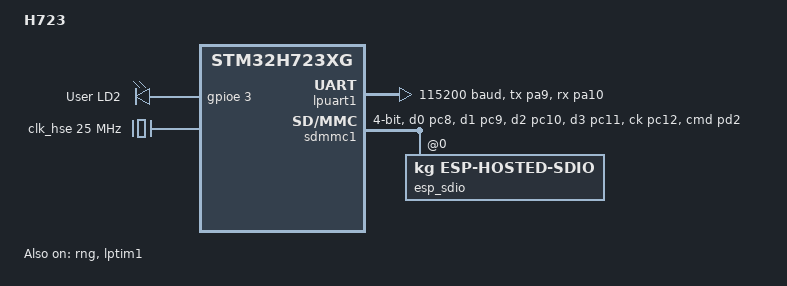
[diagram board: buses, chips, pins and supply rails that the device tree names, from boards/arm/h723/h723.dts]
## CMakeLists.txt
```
# SPDX-License-Identifier: Apache-2.0

cmake_minimum_required(VERSION 3.20.0)

set(NO_BUILD_TYPE_WARNING true)
set(CMAKE_BUILD_TYPE Debug)
set(BOARD_ROOT ${CMAKE_CURRENT_SOURCE_DIR})
set(BOARD h723)

find_package(Zephyr REQUIRED HINTS $ENV{ZEPHYR_BASE})

set(NANOPB_DIR ${ZEPHYR_BASE}/../modules/lib/nanopb)
set(NANOPB_GENERATOR ${NANOPB_DIR}/generator/nanopb_generator.py)

# 2. Zdefiniuj pliki
set(PROTO_FILE ${CMAKE_CURRENT_SOURCE_DIR}/proto/esp_hosted_rpc.proto)
set(GEN_C_FILE ${CMAKE_CURRENT_SOURCE_DIR}/proto/esp_hosted_rpc.pb.c)
set(GEN_H_FILE ${CMAKE_CURRENT_SOURCE_DIR}/proto/esp_hosted_rpc.pb.h)

# 3. Ręczne polecenie generowania (Custom Command)
# To sprawi, że pliki powstaną przed kompilacją, ale będą zwykłymi plikami C
add_custom_command(
    OUTPUT ${GEN_C_FILE} ${GEN_H_FILE}
    COMMAND ${PYTHON_EXECUTABLE} ${NANOPB_GENERATOR}
            -I${CMAKE_CURRENT_SOURCE_DIR}/proto
            --output-dir=${CMAKE_CURRENT_SOURCE_DIR}/proto
            ${PROTO_FILE}
    DEPENDS ${PROTO_FILE}
    COMMENT "Generowanie plików Nanopb dla ${PROTO_FILE}"
)

project(cellular_modem)

target_sources(app PRIVATE
    src/main.c
    src/shell.c
    src/esp_hosted.c
    src/sdio_io.c
    ${GEN_C_FILE}
 )
 
target_include_directories(app PRIVATE ${CMAKE_CURRENT_BINARY_DIR} ${CMAKE_CURRENT_SOURCE_DIR}/proto)

set(gen_dir ${ZEPHYR_BINARY_DIR}/include/generated/)
```

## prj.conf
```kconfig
CONFIG_DEBUG=y

CONFIG_PRINTK=y
CONFIG_SHELL=y
CONFIG_LOG=y
CONFIG_LOG_CMDS=y
# CONFIG_INIT_STACKS=y
# CONFIG_THREAD_STACK_INFO=y
CONFIG_KERNEL_SHELL=y
# CONFIG_THREAD_MONITOR=y
CONFIG_BOOT_BANNER=y
# CONFIG_THREAD_NAME=y
# CONFIG_DEVICE_SHELL=y
# CONFIG_DATE_SHELL=y
# CONFIG_THREAD_RUNTIME_STATS=y
# CONFIG_THREAD_RUNTIME_STATS_USE_TIMING_FUNCTIONS=y
# CONFIG_STATS=y
# CONFIG_STATS_SHELL=y

# CONFIG_SHELL_BACKEND_SERIAL=y

# CONFIG_USB_DEVICE_STACK_NEXT=y
# CONFIG_CDC_ACM_SERIAL_INITIALIZE_AT_BOOT=y
# # CONFIG_CDC_ACM_SERIAL_PRODUCT_STRING="Zephyr USB shell sample"
CONFIG_SHELL_BACKEND_SERIAL_CHECK_DTR=y
# CONFIG_USBD_CDC_ACM_LOG_LEVEL_OFF=y
CONFIG_UART_LINE_CTRL=y
# CONFIG_LOG_DEFAULT_LEVEL=1
# # CONFIG_USBD_CDC_ACM_CLASS=y

CONFIG_SERIAL=y
CONFIG_CONSOLE=y
CONFIG_UART_CONSOLE=y
CONFIG_STDOUT_CONSOLE=y
CONFIG_UART_LINE_CTRL=y
CONFIG_EARLY_CONSOLE=y

CONFIG_SHELL=y

# CONFIG_NET_SHELL=y

# CONFIG_WIFI=y
# CONFIG_NET_L2_WIFI_SHELL=y

# CONFIG_NET_PKT_RX_COUNT=16
# CONFIG_NET_PKT_TX_COUNT=16
# CONFIG_NET_BUF_RX_COUNT=64
# CONFIG_NET_BUF_TX_COUNT=64
# CONFIG_NET_TX_STACK_SIZE=16384
# CONFIG_NET_RX_STACK_SIZE=16384

# CONFIG_NETWORKING=y
# # CONFIG_TEST_RANDOM_GENERATOR=y

CONFIG_MAIN_STACK_SIZE=16384
CONFIG_SHELL_STACK_SIZE=16384
CONFIG_ISR_STACK_SIZE=16384
# CONFIG_NET_TX_STACK_SIZE=16384
# CONFIG_NET_RX_STACK_SIZE=16384

# CONFIG_NET_PKT_RX_COUNT=10
# CONFIG_NET_PKT_TX_COUNT=10
# CONFIG_NET_BUF_RX_COUNT=20
# CONFIG_NET_BUF_TX_COUNT=20
# CONFIG_NET_MAX_CONTEXTS=10
# CONFIG_NET_DHCPV4=n
# CONFIG_NET_DHCPV6=n

# CONFIG_NET_IPV4=y
# CONFIG_NET_IPV6=n

# CONFIG_NET_TCP=y

# # CONFIG_NET_LOG=y
# CONFIG_INIT_STACKS=y

# CONFIG_NET_SHELL=y

# # CONFIG_NET_STATISTICS=y
# # CONFIG_NET_STATISTICS_PERIODIC_OUTPUT=n

# CONFIG_WIFI=y
# # CONFIG_WIFI_LOG_LEVEL_INF=y
# CONFIG_NET_L2_WIFI_SHELL=y

# CONFIG_NET_MGMT_EVENT_STACK_SIZE=16384

# CONFIG_NET_IPV4_FRAGMENT=y
# CONFIG_NET_IPV4_FRAGMENT_MAX_COUNT=5
# CONFIG_NET_IPV4_FRAGMENT_TIMEOUT=5

# CONFIG_NET_CONFIG_SETTINGS=y

# CONFIG_NET_IPV4_PMTU=y

# # CONFIG_NET_DHCPV4_LOG_LEVEL_DBG=y
# CONFIG_NET_MGMT=y
# CONFIG_NET_MGMT_EVENT=y


# CONFIG_NET_RX_STACK_SIZE=16384
# CONFIG_NET_TX_STACK_SIZE=16384
# CONFIG_SHELL_STACK_SIZE=16384


# # DNS
# CONFIG_DNS_RESOLVER=y
# CONFIG_DNS_RESOLVER_ADDITIONAL_BUF_CTR=2
# CONFIG_DNS_RESOLVER_MAX_SERVERS=2
# CONFIG_DNS_SERVER_IP_ADDRESSES=y
# CONFIG_DNS_SERVER1="8.8.8.8"
# CONFIG_NET_SOCKETS_DNS_TIMEOUT=5000
# # CONFIG_DNS_RESOLVER_LOG_LEVEL_INF=y

CONFIG_REBOOT=y
# CONFIG_WIFI_SHELL_MAX_AP_STA=1
# CONFIG_NET_IF_MAX_IPV4_COUNT=2

CONFIG_WIFI=y
CONFIG_WIFI_LOG_LEVEL_DBG=y

CONFIG_LOG_MODE_IMMEDIATE=y
# CONFIG_LOG_DEFAULT_LEVEL=1
# CONFIG_LOG_MODE_DEFERRED=y
# CONFIG_LOG_BUFFER_SIZE=32768

CONFIG_SYSTEM_WORKQUEUE_STACK_SIZE=16384
CONFIG_UART_INTERRUPT_DRIVEN=y

# CONFIG_NET_SOCKETS_PACKET=y

CONFIG_WIFI_ESP_HOSTED_SDIO=y

CONFIG_NANOPB=y

CONFIG_DMA=n
CONFIG_SDHC=y
CONFIG_SDHC_STM32_SDIO=y
CONFIG_DCACHE=y
CONFIG_NOCACHE_MEMORY=y
CONFIG_HEAP_MEM_POOL_SIZE=16384
# CONFIG_SDHC_STM32_POLLING_SUPPORT=y
```

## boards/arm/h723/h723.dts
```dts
/*
 * Copyright (c) 2023 STMicroelectronics
 *
 * SPDX-License-Identifier: Apache-2.0
 */
/dts-v1/;

#include <st/h7/stm32h723Xg.dtsi>
#include <st/h7/stm32h723vgtx-pinctrl.dtsi>
#include <mem.h>

/ {
	model = "H723";
	compatible = "st,h723";

	chosen {
		zephyr,flash = &flash0;
		zephyr,sram = &sram0;
		zephyr,console = &lpuart1;
		zephyr,shell-uart = &lpuart1;
        zephyr,cortex-m-idle-timer = &lptim1;
	};

	leds {
		compatible = "gpio-leds";
		led: led {
			gpios = <&gpioe 3 GPIO_ACTIVE_HIGH>;
			label = "User LD2";
		};
	};

	aliases {
		led = &led;
	};
};

&rng {
	status = "okay";
};

&clk_lsi {
	status = "okay";
};

&clk_hse {
	clock-frequency = <DT_FREQ_M(25)>;
	status = "okay";
};

&pll {
	div-m = <2>;
	mul-n = <44>;
	div-p = <1>;
	div-q = <2>;
	div-r = <2>;
	clocks = <&clk_hse>;
	status = "okay";
};

&rcc {
	clocks = <&pll>;
	clock-frequency = <550000000>;
	d1cpre = <1>;
	hpre = <2>;    /* HCLK: 275   MHz */
	d1ppre = <2>;  /* APB1: 137.5 MHz */
	d2ppre1 = <2>; /* APB2: 137.5 MHz */
	d2ppre2 = <2>; /* APB3: 137.5 MHz */
	d3ppre = <2>;  /* APB4: 137.5 MHz */
};

// zephyr_udc0: &usbotg_hs {
//         pinctrl-0 = <&usb_otg_hs_dm_pa11 &usb_otg_hs_dp_pa12>;
//         pinctrl-names = "default";
//         status = "okay";

//         cdc_acm_uart0: cdc_acm_uart0 {
//             compatible = "zephyr,cdc-acm-uart";
// 	        status = "okay";
//         };
// };

// &otghs_fs_phy {
// 	status = "okay";
// };


&lpuart1 {
    pinctrl-0 = <&lpuart1_tx_pa9 &lpuart1_rx_pa10>;
    pinctrl-names = "default";
    current-speed = <115200>;
    status = "okay";
};

// &dma2 {
//     status = "okay";
// };

&pinctrl {
    sdmmc1_d0_pc8: sdmmc1_d0_pc8 {
        pinmux = <STM32_PINMUX('C', 8, AF12)>;
        bias-pull-up;
        drive-push-pull;
		slew-rate = "very-high-speed";
    };
    sdmmc1_d1_pc9: sdmmc1_d1_pc9 {
        pinmux = <STM32_PINMUX('C', 9, AF12)>;
        bias-pull-up;
        drive-push-pull;
		slew-rate = "very-high-speed";
    };
    sdmmc1_d2_pc10: sdmmc1_d2_pc10 {
        pinmux = <STM32_PINMUX('C', 10, AF12)>;
        bias-pull-up;
        drive-push-pull;
		slew-rate = "very-high-speed";
    };
    sdmmc1_d3_pc11: sdmmc1_d3_pc11 {
        pinmux = <STM32_PINMUX('C', 11, AF12)>;
        bias-pull-up;
        drive-push-pull;
		slew-rate = "very-high-speed";
    };
    sdmmc1_cmd_pd2: sdmmc1_cmd_pd2 {
        pinmux = <STM32_PINMUX('D', 2, AF12)>;
        bias-pull-up;
        drive-push-pull;
		slew-rate = "very-high-speed";
    };
    sdmmc1_ck_pc12: sdmmc1_ck_pc12 {
        pinmux = <STM32_PINMUX('C', 12, AF12)>;
        drive-push-pull;
		slew-rate = "very-high-speed";
    };
};

&sdmmc1 {
    status = "okay";
    compatible = "st,stm32-sdio";
    pinctrl-0 = <&sdmmc1_d0_pc8 &sdmmc1_d1_pc9 &sdmmc1_d2_pc10 &sdmmc1_d3_pc11 &sdmmc1_ck_pc12 &sdmmc1_cmd_pd2>;
    pinctrl-names = "default";
    bus-width = <4>;
    interrupt-names = "event";
	hw-flow-control;

	max-bus-freq = <20000000>;
    min-bus-freq = <400000>;

	#address-cells = <1>;
    #size-cells = <0>;

	// dma-names = "rx", "tx";
	// dmas = <&dma2 4 4 0x20400 0x0>, /* Parametry: phandle, channel, slot, config, features */
    //        <&dma2 4 5 0x20400 0x0>;

    esp_sdio: esp_sdio@0 {
        compatible = "kg,esp-hosted-sdio";
        reg = <0>;
        status = "okay";
    };
};


stm32_lp_tick_source: &lptim1 {
        status = "okay";
};
```

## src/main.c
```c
/*
 * Copyright (c) 2023, Bjarki Arge Andreasen
 *
 * SPDX-License-Identifier: Apache-2.0
 */

#include <zephyr/device.h>
#include <zephyr/kernel.h>
#include <zephyr/drivers/gpio.h>
#include <zephyr/logging/log.h>

LOG_MODULE_REGISTER(main, LOG_LEVEL_DBG);

static const struct gpio_dt_spec led = GPIO_DT_SPEC_GET(DT_ALIAS(led), gpios);

int main(void)
{
	gpio_pin_configure_dt(&led, GPIO_OUTPUT_ACTIVE);

	while (true) {
		gpio_pin_set(led.port, led.pin, true);
		k_msleep(100);
		gpio_pin_set(led.port, led.pin, false);
		k_msleep(100);
	}

	return 0;
}
```

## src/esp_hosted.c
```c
#include <stdbool.h>
#include <stdio.h>
#include <stdlib.h>
#include <zephyr/drivers/sdhc.h>
#include <zephyr/logging/log.h>
#include <stm32_ll_bus.h>
#include <zephyr/cache.h>
#include <stm32_ll_gpio.h>
#include <inttypes.h>
#include <strings.h>
#include <errno.h>
#include <endian.h>
#include "sdio_io.h"

LOG_MODULE_REGISTER(esp_hosted, CONFIG_SDHC_LOG_LEVEL);

int hosted_sdio_set_blocksize(const struct device *card, uint8_t fn, uint16_t value)
{
	size_t offset = SD_IO_FBR_START * fn;
	const uint8_t *bs_u8 = (const uint8_t *)&value;
	uint16_t bs_read = 0;
	uint8_t *bs_read_u8 = (uint8_t *)&bs_read;

	// Set and read back block size
	ERROR_CHECK(sdio_io_write_byte(card, SDIO_FUNC_0, offset + SD_IO_CCCR_BLKSIZEL, bs_u8[0],
				       NULL));
	ERROR_CHECK(sdio_io_write_byte(card, SDIO_FUNC_0, offset + SD_IO_CCCR_BLKSIZEH, bs_u8[1],
				       NULL));
	ERROR_CHECK(
		sdio_io_read_byte(card, SDIO_FUNC_0, offset + SD_IO_CCCR_BLKSIZEL, &bs_read_u8[0]));
	ERROR_CHECK(
		sdio_io_read_byte(card, SDIO_FUNC_0, offset + SD_IO_CCCR_BLKSIZEH, &bs_read_u8[1]));
	LOG_INF("Function %d Blocksize: %d", fn, (unsigned int)bs_read);

	if (bs_read == value) {
		return 0;
	} else {
		return -1;
	}
}

int hosted_sdio_card_fn_init(const struct device *card)
{
	uint8_t ioe = 0;
	uint8_t ior = 0;
	uint8_t ie = 0;
	uint8_t bus_width = 0;
	uint16_t bs = 0;
	int i = 0;

	ERROR_CHECK(sdio_io_read_byte(card, SDIO_FUNC_0, SD_IO_CCCR_FN_ENABLE, &ioe));
	LOG_INF("IOE: 0x%02x", ioe);

	ERROR_CHECK(sdio_io_read_byte(card, SDIO_FUNC_0, SD_IO_CCCR_FN_READY, &ior));
	LOG_INF("IOR: 0x%02x", ior);

	// enable function 1
	ioe |= FUNC1_EN_MASK;
	ERROR_CHECK(sdio_io_write_byte(card, SDIO_FUNC_0, SD_IO_CCCR_FN_ENABLE, ioe, &ioe));
	LOG_INF("IOE: 0x%02x", ioe);

	ERROR_CHECK(sdio_io_read_byte(card, SDIO_FUNC_0, SD_IO_CCCR_FN_ENABLE, &ioe));
	LOG_INF("IOE: 0x%02x", ioe);

	// wait for the card to become ready
	ior = 0;
	for (i = 0; i < SDIO_INIT_MAX_RETRY; i++) {
		ERROR_CHECK(sdio_io_read_byte(card, SDIO_FUNC_0, SD_IO_CCCR_FN_READY, &ior));
		LOG_INF("IOR: 0x%02x", ior);
		if (ior & FUNC1_EN_MASK) {
			break;
		} else {
			k_usleep(10 * 1000);
		}
	}
	if (i >= SDIO_INIT_MAX_RETRY) {
		// card failed to become ready
		return -1;
	}

	// get interrupt status
	ERROR_CHECK(sdio_io_read_byte(card, SDIO_FUNC_0, SD_IO_CCCR_INT_ENABLE, &ie));
	LOG_INF("IE: 0x%02x", ie);

	// enable interrupts for function 1 and master enable
	ie |= BIT(0) | FUNC1_EN_MASK;
	ERROR_CHECK(sdio_io_write_byte(card, SDIO_FUNC_0, SD_IO_CCCR_INT_ENABLE, ie, NULL));

	ERROR_CHECK(sdio_io_read_byte(card, SDIO_FUNC_0, SD_IO_CCCR_INT_ENABLE, &ie));
	LOG_INF("IE: 0x%02x", ie);

	// get bus width register
	ERROR_CHECK(sdio_io_read_byte(card, SDIO_FUNC_0, SD_IO_CCCR_BUS_WIDTH, &bus_width));
	LOG_INF("BUS_WIDTH: 0x%02x", bus_width);

	// skip enable of continous SPI interrupts

	// set FN0 block size to 512
	bs = 512;
	ERROR_CHECK(hosted_sdio_set_blocksize(card, SDIO_FUNC_0, bs));

	// set FN1 block size to 512
	bs = 512;
	ERROR_CHECK(hosted_sdio_set_blocksize(card, SDIO_FUNC_1, bs));

	return 0;
}

int hosted_sdio_read_block(const struct device *card, uint32_t reg, uint8_t *data, uint16_t size,
			   bool lock_required)
{
	int res = 0;

	if (size <= 1) {
		res = sdio_io_read_byte(card, SDIO_FUNC_1, reg, data);
	} else {
		res = sdio_read_fromio(card, SDIO_FUNC_1, reg, data,
				       H_SDIO_RX_LEN_TO_TRANSFER(size));
	}
	return res;
}

int hosted_sdio_write_block(const struct device *card, uint32_t reg, uint8_t *data, uint16_t size,
			    bool lock_required)
{
	int res = 0;

	if (size <= 1) {
		res = sdio_io_write_byte(card, SDIO_FUNC_1, reg, *data, NULL);
	} else {
		res = sdio_write_toio(card, SDIO_FUNC_1, reg, data,
				      H_SDIO_TX_LEN_TO_TRANSFER(size));
	}
	return res;
}

static uint8_t sdio_tx_buffer[1536] __aligned(32) __attribute__((section(".nocache")));

int esp_hosted_tx(const struct device *card, uint8_t iface_type, uint8_t iface_num,
		  uint8_t *wbuffer, uint16_t wlen)
{
	uint8_t *sendbuf = NULL;
	uint8_t *payload = NULL;
	struct esp_payload_header *header = NULL;

	memset(sdio_tx_buffer, 0, wlen + sizeof(struct esp_payload_header));
	header = (struct esp_payload_header *)sdio_tx_buffer;
	payload = sdio_tx_buffer + sizeof(struct esp_payload_header);

	header->len = htole16(wlen);
	header->offset = htole16(sizeof(struct esp_payload_header));
	header->if_type = iface_type;
	header->if_num = iface_num;
	header->seq_num = 0;

	memcpy(payload, wbuffer, wlen);

	uint32_t data_left = wlen + sizeof(struct esp_payload_header);

	uint32_t block_send_len =
		((data_left + ESP_BLOCK_SIZE - 1) / ESP_BLOCK_SIZE) * ESP_BLOCK_SIZE;

	int ret = sdio_io_write_blocks(card, SDIO_FUNC_1, ESP_SLAVE_CMD53_END_ADDR - data_left, sdio_tx_buffer,
			     block_send_len);
	k_free(sendbuf);

	return ret;
}

int send_slave_config(const struct device *card, uint8_t host_cap, uint8_t firmware_chip_id,
		      uint8_t raw_tp_direction, uint8_t low_thr_thesh, uint8_t high_thr_thesh)
{
#define LENGTH_1_BYTE 1
	struct esp_priv_event *event = NULL;
	uint8_t *pos = NULL;
	uint16_t len = 0;
	uint8_t *sendbuf = NULL;

	sendbuf = k_malloc(512);

	/* Populate event data */
	// event = (struct esp_priv_event *) (sendbuf + sizeof(struct esp_payload_header));
	// //ZeroCopy
	event = (struct esp_priv_event *)(sendbuf);

	event->event_type = ESP_PRIV_EVENT_INIT;

	/* Populate TLVs for event */
	pos = event->event_data;

	/* TLVs start */

	/* TLV - Board type */
	LOG_INF("send_slave_config: Slave chip Id[%x]", ESP_PRIV_FIRMWARE_CHIP_ID);
	*pos = HOST_CAPABILITIES;
	pos++;
	len++;
	*pos = LENGTH_1_BYTE;
	pos++;
	len++;
	*pos = host_cap;
	pos++;
	len++;

	/* TLV - Capability */
	*pos = RCVD_ESP_FIRMWARE_CHIP_ID;
	pos++;
	len++;
	*pos = LENGTH_1_BYTE;
	pos++;
	len++;
	*pos = firmware_chip_id;
	pos++;
	len++;

	*pos = SLV_CONFIG_TEST_RAW_TP;
	pos++;
	len++;
	*pos = LENGTH_1_BYTE;
	pos++;
	len++;
	*pos = raw_tp_direction;
	pos++;
	len++;

	*pos = SLV_CONFIG_THROTTLE_HIGH_THRESHOLD;
	pos++;
	len++;
	*pos = LENGTH_1_BYTE;
	pos++;
	len++;
	*pos = high_thr_thesh;
	pos++;
	len++;

	*pos = SLV_CONFIG_THROTTLE_LOW_THRESHOLD;
	pos++;
	len++;
	*pos = LENGTH_1_BYTE;
	pos++;
	len++;
	*pos = low_thr_thesh;
	pos++;
	len++;

	/* TLVs end */

	event->event_len = len;

	/* payload len = Event len + sizeof(event type) + sizeof(event len) */
	len += 2;

	return esp_hosted_tx(card, ESP_PRIV_IF, 0, sendbuf, len);
}
```

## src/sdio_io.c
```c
/*
 * Copyright (c) 2018 Nordic Semiconductor ASA
 *
 * SPDX-License-Identifier: Apache-2.0
 */

#include <stdbool.h>
#include <stdio.h>
#include <stdlib.h>
#include <zephyr/drivers/sdhc.h>
#include <zephyr/logging/log.h>
#include <stm32_ll_bus.h>
#include <zephyr/cache.h>
#include <stm32_ll_gpio.h>
#include <inttypes.h>
#include <strings.h>
#include <errno.h>
#include <endian.h>
#include "sdio_io.h"

LOG_MODULE_REGISTER(sdio_io, CONFIG_SDHC_LOG_LEVEL);

static char chip_type = ESP_PRIV_FIRMWARE_CHIP_UNRECOGNIZED;

void log_sdio_command(struct sdhc_command *cmd, int8_t ret)
{
	// Logowanie podstawowych parametrów komendy
	LOG_INF("cmd op=%d arg=%08x timeout=%d", cmd->opcode, cmd->arg, cmd->timeout_ms);

	LOG_INF("cmd response %08x %08x %08x %08x err=0x%x", cmd->response[0], cmd->response[1],
		cmd->response[2], cmd->response[3], ret);

	// Wyświetlanie odpowiedzi w zależności od jej typu
	// R2 ma 128 bitów (wszystkie 4 pola), reszta ma 32 bity (tylko response[0])
	if (cmd->response_type & SD_RSP_TYPE_R2) {
		LOG_INF("  Resp [R2]: 0x%08x %08x %08x %08x", cmd->response[0], cmd->response[1],
			cmd->response[2], cmd->response[3]);
	} else if (cmd->response_type != SD_RSP_TYPE_NONE) {
		LOG_INF("  Resp: 0x%08x", cmd->response[0]);

		// Dodatkowe dekodowanie dla najczęstszych komend SDIO
		if (cmd->opcode == 5) {
			LOG_INF("    [R4] Ready: %d, Functions: %d, OCR: 0x%06x",
				(cmd->response[0] >> 31) & 0x1, (cmd->response[0] >> 28) & 0x7,
				cmd->response[0] & 0xFFFFFF);
		} else if (cmd->opcode == 3) {
			LOG_INF("    [R6] RCA: 0x%04x, Status: 0x%04x",
				(cmd->response[0] >> 16) & 0xFFFF, cmd->response[0] & 0xFFFF);
		} else if (cmd->opcode == 52 || cmd->opcode == 53) {
			LOG_INF("    [R5] Flags: 0x%02x, Data: 0x%02x",
				(cmd->response[0] >> 8) & 0xFF, cmd->response[0] & 0xFF);
		}
	}
}

int sdio_io_read_byte(const struct device *dev, uint32_t function, uint32_t addr, uint8_t *out_byte)
{
	int8_t ret = sdio_io_rw_direct(dev, function, addr, SD_ARG_CMD52_READ, out_byte);
	if (unlikely(ret != 0)) {
		LOG_INF("sdio_io_read_byte: sdio_io_rw_direct (read 0x%" PRIx32 ") returned 0x%x",
			addr, ret);
	}
	return ret;
}

static uint8_t sdio_buffer[1536] __aligned(32) __attribute__((section(".nocache")));

int sdio_io_rw_extended(const struct device *dev, uint32_t func, uint32_t reg, uint32_t arg,
			void *datap, size_t datalen)
{
	int8_t err;

	struct sdhc_command cmd = {
		.opcode = SD_IO_RW_EXTENDED,
		.arg = arg,
		.response_type = SD_RSP_TYPE_R5,
		.timeout_ms = 1000,
	};

	uint32_t num_blocks = (datalen + BLOCKSIZE - 1) / BLOCKSIZE;
	uint32_t count;

	struct sdhc_data data_cfg = {
		.block_size = BLOCKSIZE,
		.blocks = num_blocks,
		.data = sdio_buffer,
		.timeout_ms = 1000,
	};

	memset(sdio_buffer, 0xcc, BLOCKSIZE);
	if (arg & SD_ARG_CMD53_WRITE) {
		memcpy(sdio_buffer, datap, datalen);
	}

	if (arg & SD_ARG_CMD53_BLOCK_MODE) {
		if (data_cfg.block_size % BLOCKSIZE != 0) {
			return -1;
		}
		count = data_cfg.block_size / BLOCKSIZE;
	} else {
		if (datalen > BLOCKSIZE) {
			return -1;
		}
		if (datalen == BLOCKSIZE) {
			count = 0;
		} else {
			count = datalen;
		}
		data_cfg.block_size = datalen;
	}

	arg |= (func & SD_ARG_CMD53_FUNC_MASK) << SD_ARG_CMD53_FUNC_SHIFT;
	arg |= (reg & SD_ARG_CMD53_REG_MASK) << SD_ARG_CMD53_REG_SHIFT;
	arg |= (count & SD_ARG_CMD53_LENGTH_MASK) << SD_ARG_CMD53_LENGTH_SHIFT;
	cmd.arg = arg;

	LOG_INF("======== write ===========");
	LOG_HEXDUMP_INF(sdio_buffer, datalen, "DATA to write:");
	LOG_INF("=========================");

	err = sdhc_request(dev, &cmd, &data_cfg);
	log_sdio_command(&cmd, err);

	// Cannot do a normal bitmask check (arg & SD_ARG_CMD53_READ)
	// since SD_ARG_CMD53_READ (0<<31) is 0
	if (!(arg & SD_ARG_CMD53_WRITE) && datalen > 0) {
		memcpy(datap, sdio_buffer, datalen);
		LOG_INF("sdio_io_rw_extended: copied %zu bytes from aligned buffer", datalen);
		LOG_INF("======== read ===========");
		LOG_HEXDUMP_INF(sdio_buffer, datalen, "DATA read:");
		LOG_INF("=========================");
	}

	if (err != 0) {
		LOG_INF("sdio_io_rw_extended: sdhc_request returned 0x%x", err);
		return err;
	}

	return 0;
}

int sdio_io_read_bytes(const struct device *dev, uint32_t function, uint32_t addr, void *dst,
		       size_t size)
{
	uint32_t arg = SD_ARG_CMD53_READ;
	bool incr_addr = true;
	// Extract and unset the bit used to indicate the OP Code
	if (addr & SDMMC_IO_FIXED_ADDR) {
		addr &= ~SDMMC_IO_FIXED_ADDR;
		incr_addr = false;
	}
	if (incr_addr) {
		arg |= SD_ARG_CMD53_INCREMENT;
	}

	/* host quirk: SDIO transfer with length not divisible by 4 bytes
	 * has to be split into two transfers: one with aligned length,
	 * the other one for the remaining 1-3 bytes.
	 */
	uint8_t *pc_dst = dst;
	while (size > 0) {
		size_t size_aligned = size & (~3);
		size_t will_transfer = size_aligned > 0 ? size_aligned : size;

		// Note: sdmmc_io_rw_extended has an internal timeout,
		//  typically SDMMC_DEFAULT_CMD_TIMEOUT_MS
		int8_t err = sdio_io_rw_extended(dev, function, addr, arg, pc_dst, will_transfer);
		if (unlikely(err != 0)) {
			return err;
		}
		pc_dst += will_transfer;
		size -= will_transfer;
		if (incr_addr) {
			addr += will_transfer;
		}
	}
	return 0;
}

int sdio_io_write_bytes(const struct device *dev, uint32_t function, uint32_t addr, void *src,
			size_t size)
{
	uint32_t arg = SD_ARG_CMD53_WRITE;
	bool incr_addr = true;
	// Extract and unset the bit used to indicate the OP Code
	if (addr & SDMMC_IO_FIXED_ADDR) {
		addr &= ~SDMMC_IO_FIXED_ADDR;
		incr_addr = false;
	}
	if (incr_addr) {
		arg |= SD_ARG_CMD53_INCREMENT;
	}

	/* host quirk: SDIO transfer with length not divisible by 4 bytes
	 * has to be split into two transfers: one with aligned length,
	 * the other one for the remaining 1-3 bytes.
	 */
	uint8_t *pc_dst = src;
	while (size > 0) {
		size_t size_aligned = size & (~3);
		size_t will_transfer = size_aligned > 0 ? size_aligned : size;

		// Note: sdmmc_io_rw_extended has an internal timeout,
		//  typically SDMMC_DEFAULT_CMD_TIMEOUT_MS
		int8_t err = sdio_io_rw_extended(dev, function, addr, arg, pc_dst, will_transfer);
		if (unlikely(err != 0)) {
			return err;
		}
		pc_dst += will_transfer;
		size -= will_transfer;
		if (incr_addr) {
			addr += will_transfer;
		}
	}
	return 0;
}

int sdio_io_write_byte(const struct device *dev, uint32_t function, uint32_t addr, uint8_t in_byte,
		       uint8_t *out_byte)
{
	int8_t ret = sdio_io_rw_direct(dev, function, addr,
				       SD_ARG_CMD52_WRITE | SD_ARG_CMD52_EXCHANGE, &in_byte);
	if (unlikely(ret != 0)) {
		LOG_INF("sdio_io_write_byte: sdio_io_rw_direct (write 0x%" PRIx32 ") returned 0x%x",
			addr, ret);
	}
	if (out_byte != NULL) {
		*out_byte = in_byte;
	}
	return ret;
}

int sdio_io_rw_direct(const struct device *dev, int func, uint32_t reg, uint32_t arg, void *byte)
{
	int8_t ret;
	struct sdhc_command cmd = {.arg = 0, .opcode = SD_IO_RW_DIRECT, .timeout_ms = 1000};

	arg |= (func & SD_ARG_CMD52_FUNC_MASK) << SD_ARG_CMD52_FUNC_SHIFT;
	arg |= (reg & SD_ARG_CMD52_REG_MASK) << SD_ARG_CMD52_REG_SHIFT;
	arg |= (*(uint8_t *)byte & SD_ARG_CMD52_DATA_MASK) << SD_ARG_CMD52_DATA_SHIFT;
	cmd.arg = arg;

	ret = sdhc_request(dev, &cmd, NULL);
	log_sdio_command(&cmd, ret);
	if (ret < 0) {
		LOG_INF("sdhc_request returned 0x%x", ret);
		return ret;
	}

	*(uint8_t *)byte = SD_R5_DATA(cmd.response);

	return 0;
}

int sdio_io_reset(const struct device *dev)
{
	uint8_t sdio_reset = CCCR_CTL_RES;

	int8_t ret = sdio_io_rw_direct(dev, 0, SD_IO_CCCR_CTL, SD_ARG_CMD52_WRITE, &sdio_reset);

	if (ret == -ETIMEDOUT) {
	} else if (ret == -ENOTSUP) {
		LOG_INF("sdio_io_reset: card not present");
		return ret;
	} else if (ret != 0) {
		LOG_INF("sdio_io_reset: unexpected return: 0x%x", ret);
		return ret;
	}
	return 0;
}

int sdio_send_cmd_go_idle_state(const struct device *dev)
{
	struct sdhc_command cmd = {
		.opcode = MMC_GO_IDLE_STATE, .arg = 0, .timeout_ms = 1000, .retries = 3};

	int8_t ret = sdhc_request(dev, &cmd, NULL);
	log_sdio_command(&cmd, ret);
	if (ret < 0) {
		LOG_INF("sdio_send_cmd_go_idle_state: CMD0 failed: %d", ret);
		return ret;
	}

	k_msleep(SDMMC_GO_IDLE_DELAY_MS);

	return 0;
}

int sdio_io_send_op_cond(const struct device *dev, uint32_t ocr, uint32_t *ocrp)
{
	int8_t ret = 0;
	struct sdhc_command cmd = {
		.arg = ocr, .opcode = SD_IO_SEND_OP_COND, .timeout_ms = 1000, .retries = 3};
	for (size_t i = 0; i < 100; i++) {
		ret = sdhc_request(dev, &cmd, NULL);
		log_sdio_command(&cmd, ret);
		if (ret < 0) {
			break;
		}
		if ((MMC_R4(cmd.response) & SD_IO_OCR_MEM_READY) || ocr == 0) {
			break;
		}
		ret = -ETIMEDOUT;
		k_msleep(SDMMC_IO_SEND_OP_COND_DELAY_MS);
	}
	if (ret == 0 && ocrp != NULL) {
		*ocrp = MMC_R4(cmd.response);
	}

	return ret;
}

int sdio_init_io(const struct device *dev)
{
	uint32_t ocrp = 0;
	int8_t err = 0;
	err = sdio_io_send_op_cond(dev, 0, &ocrp);
	if (err < 0) {
		LOG_INF("io_send_op_cond (1) returned 0x%x; not IO card", err);
	} else {
		if (ocrp & SD_IO_OCR_MEM_PRESENT) {
			LOG_INF("Combination card");
		} else {
			LOG_INF("IO-only card");
		}
		int num_io_functions = SD_IO_OCR_NUM_FUNCTIONS(ocrp);
		LOG_INF("number of IO functions: %d", num_io_functions);
		if (num_io_functions == 0) {
			LOG_INF("no IO functions");
		}
		err = sdio_io_send_op_cond(dev, SD_OCR_VOL_MASK, &ocrp);
		if (err < 0) {
			LOG_INF("sdio_io_send_op_cond (1) returned 0x%x", err);
			return err;
		}
	}
	return 0;
}

int sdio_send_cmd_set_relative_addr(const struct device *dev, uint16_t *out_rca)
{
	struct sdhc_command cmd = {.opcode = SD_SEND_RELATIVE_ADDR,
				   .response_type = SD_RSP_TYPE_R6,
				   .timeout_ms = 1000,
				   .retries = 3};

	int8_t err = sdhc_request(dev, &cmd, NULL);
	log_sdio_command(&cmd, err);
	if (err != 0) {
		return err;
	}

	uint16_t response_rca = SD_R6_RCA(cmd.response);
	if (response_rca == 0) {
		err = sdhc_request(dev, &cmd, NULL);
		log_sdio_command(&cmd, err);
		if (err != 0) {
			return err;
		}
		response_rca = SD_R6_RCA(cmd.response);
	}
	*out_rca = response_rca;
	return 0;
}

int sdio_send_cmd_select_card(const struct device *dev, uint32_t rca)
{
	struct sdhc_command cmd = {.opcode = MMC_SELECT_CARD,
				   .arg = MMC_ARG_RCA(rca),
				   .timeout_ms = 1000,
				   .retries = 3};
	int8_t ret = sdhc_request(dev, &cmd, NULL);
	log_sdio_command(&cmd, ret);
	if (ret != 0) {
		LOG_INF("sdio_send_cmd_select_card: sdhc_request returned 0x%x", ret);
	}
	return ret;
}

int sdio_init_select_card(const struct device *dev, uint32_t rca)
{
	int8_t err = sdio_send_cmd_select_card(dev, rca);
	if (err != 0) {
		LOG_INF("sdio_init_select_card: select_card returned 0x%x", err);
		return err;
	}
	return 0;
}

int sdio_io_init_read_card_cap(const struct device *dev, uint8_t *card_cap)
{
	int8_t err = 0;

	err = sdio_io_rw_direct(dev, 0, SD_IO_CCCR_CARD_CAP, SD_ARG_CMD52_READ, card_cap);
	if (err != 0) {
		LOG_INF("sdio_io_init_read_card_cap: sdio_io_rw_direct (read SD_IO_CCCR_CARD_CAP) "
			"returned 0x%x",
			err);
		return err;
	}

	return 0;
}

int sdio_read_reg(const struct device *dev, uint32_t reg, void *data, uint16_t size)
{
	int8_t res = 0;

	reg &= ESP_ADDRESS_MASK;

	if (size <= 1) {
		res = sdio_io_read_byte(dev, SDIO_FUNC_1, reg, data);
	} else {
		res = sdio_io_read_bytes(dev, SDIO_FUNC_1, reg, data, size);
	}
	if (res != 0) {
		LOG_INF("sdio_read_reg: sdio_io_read_byte (read 0x%" PRIx32 ") returned 0x%x", reg,
			res);
	}
	return res;
}

int sdio_write_reg(const struct device *dev, uint32_t reg, void *data, uint16_t size)
{
	int8_t res = 0;

	reg &= ESP_ADDRESS_MASK;

	if (size <= 1) {
		res = sdio_io_write_byte(dev, SDIO_FUNC_1, reg, *(uint8_t *)data, NULL);
	} else {
		res = sdio_io_write_bytes(dev, SDIO_FUNC_1, reg, data, size);
	}
	if (res != 0) {
		LOG_INF("sdio_write_reg: sdio_io_write_byte (write 0x%" PRIx32 ") returned 0x%x",
			reg, res);
	}
	return res;
}

static uint32_t sdio_rx_byte_count = 0;

int sdio_get_len_from_slave(uint32_t *rx_size, uint32_t reg_val)
{
	uint32_t len = reg_val;
	uint32_t temp;

	if (!rx_size) {
		return -1;
	}
	*rx_size = 0;

	len &= ESP_SLAVE_LEN_MASK;

	if (len >= sdio_rx_byte_count) {
		len = (len + ESP_RX_BYTE_MAX - sdio_rx_byte_count) % ESP_RX_BYTE_MAX;
	} else {
		/* Handle a case of roll over */
		temp = ESP_RX_BYTE_MAX - sdio_rx_byte_count;
		len = temp + len;
	}

#if H_SDIO_HOST_RX_MODE != H_SDIO_HOST_STREAMING_MODE
	if (len > ESP_RX_BUFFER_SIZE) {
		LOG_INF("sdio_get_len_from_slave: Len from slave[%ld] exceeds max [%d]", __func__,
			len, ESP_RX_BUFFER_SIZE);
		return -1;
	}
#endif

	*rx_size = len;

	return 0;
}

int sdio_generate_slave_intr(const struct device *card, uint8_t intr_no)
{
	uint8_t intr_mask = BIT(intr_no + ESP_SDIO_CONF_OFFSET);

	if (intr_no >= BIT(ESP_MAX_HOST_INTERRUPT)) {
		LOG_INF("sdio_generate_slave_intr: Invalid slave interrupt number");
		return -1;
	}

	uint32_t reg = HOST_TO_SLAVE_INTR;
	reg &= ESP_ADDRESS_MASK;
	int8_t ret = sdio_io_write_byte(card, SDIO_FUNC_1, reg, intr_mask, NULL);
	if (ret < 0) {
		LOG_INF("Failed to generate slave interrupt: %d", ret);
		return ret;
	}

	return 0;
}

int sdio_read_fromio(const struct device *card, uint32_t function, uint32_t addr, void *data,
		     uint16_t size)
{
	uint16_t remainder = size;
	uint16_t blocks;
	int8_t res;
	uint32_t *ptr = data;

	// do block mode transfer
	while (remainder >= ESP_BLOCK_SIZE) {
		blocks = H_SDIO_RX_BLOCKS_TO_TRANSFER(remainder);
		size = blocks * ESP_BLOCK_SIZE;
		res = sdio_io_read_blocks(card, function, addr, ptr, size);
		if (res) {
			return res;
		}

		remainder -= size;
		ptr += size;
		addr += size;
	}

	// transfer remainder using byte mode
	while (remainder > 0) {
		size = remainder;
		res = sdio_io_read_bytes(card, function, addr, ptr, size);
		if (res) {
			return res;
		}

		remainder -= size;
		ptr += size;
		addr += size;
	}

	return 0;
}

int sdio_write_toio(const struct device *card, uint32_t function, uint32_t addr, void *data,
		    uint16_t size)
{
	uint16_t remainder = size;
	uint16_t blocks;
	int8_t res;
	uint32_t *ptr = data;

	// do block mode transfer
	while (remainder >= ESP_BLOCK_SIZE) {
		blocks = H_SDIO_TX_BLOCKS_TO_TRANSFER(remainder);
		size = blocks * ESP_BLOCK_SIZE;
		res = sdio_io_write_blocks(card, function, addr, ptr, size);
		if (res) {
			return res;
		}

		remainder -= size;
		ptr += size;
		addr += size;
	}

	// transfer remainder using byte mode
	while (remainder > 0) {
		size = remainder;
		res = sdio_io_write_bytes(card, function, addr, ptr, size);
		if (res) {
			return res;
		}

		remainder -= size;
		ptr += size;
		addr += size;
	}

	return 0;
}

int sdio_io_read_blocks(const struct device *card, uint32_t function, uint32_t addr, void *dst,
			size_t size)
{
	uint32_t arg = SD_ARG_CMD53_READ | SD_ARG_CMD53_INCREMENT | SD_ARG_CMD53_BLOCK_MODE;
	// Extract and unset the bit used to indicate the OP Code (inverted logic)
	if (addr & SDMMC_IO_FIXED_ADDR) {
		arg &= ~SD_ARG_CMD53_INCREMENT;
		addr &= ~SDMMC_IO_FIXED_ADDR;
	}

	int8_t ret = sdio_io_rw_extended(card, function, addr, arg, dst, size);
	if (ret != 0) {
		LOG_INF("sdio_io_read_blocks: sdio_io_rw_extended returned 0x%x", ret);
	}
	return ret;
}

int sdio_io_write_blocks(const struct device *card, uint32_t function, uint32_t addr,
			 const void *src, size_t size)
{
	uint32_t arg = SD_ARG_CMD53_WRITE | SD_ARG_CMD53_INCREMENT | SD_ARG_CMD53_BLOCK_MODE;
	// Extract and unset the bit used to indicate the OP Code (inverted logic)
	if (addr & SDMMC_IO_FIXED_ADDR) {
		arg &= ~SD_ARG_CMD53_INCREMENT;
		addr &= ~SDMMC_IO_FIXED_ADDR;
	}

	int8_t ret = sdio_io_rw_extended(card, function, addr, arg, (void *)src, size);
	if (ret != 0) {
		LOG_INF("sdio_io_write_blocks: sdio_io_rw_extended returned 0x%x", ret);
	}
	return ret;
}

static double_buf_t double_buf;

uint8_t *sdio_rx_get_buffer(uint32_t len)
{
	len = ((len + ESP_BLOCK_SIZE - 1) / ESP_BLOCK_SIZE) * ESP_BLOCK_SIZE;
	int index = double_buf.write_index;
	uint8_t **buf = &double_buf.buffer[index].buf;

	if (len > double_buf.buffer[index].buf_size) {
		if (*buf) {
			// free already allocated memory
			k_free(*buf);
		}
		*buf = k_malloc(len);
		double_buf.buffer[index].buf_size = len;
		LOG_INF("sdio_rx_get_buffer: allocated buf %d size: %d", index,
			double_buf.buffer[index].buf_size);
	}
	return *buf;
}

void process_capabilities(uint8_t cap)
{
	LOG_INF("capabilities: 0x%x", cap);
}

void print_capabilities(uint32_t cap)
{
	LOG_INF("Features supported are:");
	if (cap & ESP_WLAN_SDIO_SUPPORT) {
		LOG_INF("\t * WLAN");
	}
	if (cap & ESP_BT_UART_SUPPORT) {
		LOG_INF("\t   - HCI over UART");
	}
	if (cap & ESP_BT_SDIO_SUPPORT) {
		LOG_INF("\t   - HCI over SDIO");
	}
	if (cap & ESP_BT_SPI_SUPPORT) {
		LOG_INF("\t   - HCI over SPI");
	}
	if ((cap & ESP_BLE_ONLY_SUPPORT) && (cap & ESP_BR_EDR_ONLY_SUPPORT)) {
		LOG_INF("\t   - BT/BLE dual mode");
	} else if (cap & ESP_BLE_ONLY_SUPPORT) {
		LOG_INF("\t   - BLE only");
	} else if (cap & ESP_BR_EDR_ONLY_SUPPORT) {
		LOG_INF("\t   - BR EDR only");
	}
}

static uint32_t process_ext_capabilities(uint8_t *ptr)
{
	// ptr address may be not be 32-bit aligned
	uint32_t cap;

	cap = (uint32_t)ptr[0] + ((uint32_t)ptr[1] << 8) + ((uint32_t)ptr[2] << 16) +
	      ((uint32_t)ptr[3] << 24);
	LOG_INF("extended capabilities: 0x%" PRIx32, cap);

	return cap;
}

static void print_ext_capabilities(uint8_t *ptr)
{
	// ptr address may be not be 32-bit aligned
	uint32_t cap;

	cap = (uint32_t)ptr[0] + ((uint32_t)ptr[1] << 8) + ((uint32_t)ptr[2] << 16) +
	      ((uint32_t)ptr[3] << 24);

	LOG_INF("Extended Features supported:");
	LOG_INF("\t No extended features. capabilities[%" PRIu32 "]", cap);
}

static int get_chip_str_from_id(int chip_id, char *chip_str)
{
	int ret = 0;

	switch (chip_id) {
	case ESP_PRIV_FIRMWARE_CHIP_ESP32:
		strcpy(chip_str, "esp32");
		break;
	case ESP_PRIV_FIRMWARE_CHIP_ESP32C2:
		strcpy(chip_str, "esp32c2");
		break;
	case ESP_PRIV_FIRMWARE_CHIP_ESP32C3:
		strcpy(chip_str, "esp32c3");
		break;
	case ESP_PRIV_FIRMWARE_CHIP_ESP32C6:
		strcpy(chip_str, "esp32c6");
		break;
	case ESP_PRIV_FIRMWARE_CHIP_ESP32S2:
		strcpy(chip_str, "esp32s2");
		break;
	case ESP_PRIV_FIRMWARE_CHIP_ESP32S3:
		strcpy(chip_str, "esp32s3");
		break;
	case ESP_PRIV_FIRMWARE_CHIP_ESP32C5:
		strcpy(chip_str, "esp32c5");
		break;
	default:
		LOG_INF("Unsupported chip id: %u", chip_id);
		strcpy(chip_str, "unsupported");
		ret = -1;
		break;
	}
	return ret;
}

static void verify_host_config_for_slave(uint8_t chip_type)
{
	uint8_t exp_chip_id = 0xff;

#if H_SLAVE_TARGET_ESP32
	exp_chip_id = ESP_PRIV_FIRMWARE_CHIP_ESP32;
#elif H_SLAVE_TARGET_ESP32C2
	exp_chip_id = ESP_PRIV_FIRMWARE_CHIP_ESP32C2;
#elif H_SLAVE_TARGET_ESP32C3
	exp_chip_id = ESP_PRIV_FIRMWARE_CHIP_ESP32C3;
#elif H_SLAVE_TARGET_ESP32C6
	exp_chip_id = ESP_PRIV_FIRMWARE_CHIP_ESP32C6;
#elif H_SLAVE_TARGET_ESP32S2
	exp_chip_id = ESP_PRIV_FIRMWARE_CHIP_ESP32S2;
#elif H_SLAVE_TARGET_ESP32S3
	exp_chip_id = ESP_PRIV_FIRMWARE_CHIP_ESP32S3;
#elif H_SLAVE_TARGET_ESP32C5
	exp_chip_id = ESP_PRIV_FIRMWARE_CHIP_ESP32C5;
#else
	LOG_INF("Incorrect host config for ESP slave chipset[%x]", chip_type);
#endif
	if (chip_type != exp_chip_id) {
		char slave_str[20], exp_str[20];

		memset(slave_str, '\0', 20);
		memset(exp_str, '\0', 20);

		get_chip_str_from_id(chip_type, slave_str);
		get_chip_str_from_id(exp_chip_id, exp_str);
		LOG_INF("Identified slave [%s] != Expected [%s]\n\t\trun 'idf.py menuconfig' at "
			"host to reselect the slave?\n\t\tAborting.. ",
			slave_str, exp_str);
		k_msleep(10);
	}
}

int process_init_event(const struct device *card, uint8_t *evt_buf, uint16_t len)
{
	uint8_t len_left = len, tag_len;
	uint8_t *pos;
	uint32_t ext_cap = 0;
	uint32_t slave_fw_version = 0;
	uint8_t raw_tp_config = H_TEST_RAW_TP_DIR;

	if (!evt_buf) {
		return -1;
	}

	pos = evt_buf;
	LOG_INF("Init event length: %u", len);
	if (len > 64) {
		LOG_INF("Init event length: %u", len);
	}

	while (len_left) {
		tag_len = *(pos + 1);
		LOG_INF("EVENT: %2x", *pos);

		if (*pos == ESP_PRIV_CAPABILITY) {
			process_capabilities(*(pos + 2));
			print_capabilities(*(pos + 2));
		} else if (*pos == ESP_PRIV_CAP_EXT) {
			ext_cap = process_ext_capabilities(pos + 2);
			print_ext_capabilities(pos + 2);
		} else if (*pos == ESP_PRIV_FIRMWARE_CHIP_ID) {
			chip_type = *(pos + 2);
			verify_host_config_for_slave(chip_type);
		} else if (*pos == ESP_PRIV_TEST_RAW_TP) {
			if (*(pos + 2)) {
				LOG_INF("Slave enabled Raw Throughput Testing, but not enabled on "
					"Host");
			}
		} else if (*pos == ESP_PRIV_RX_Q_SIZE) {
			LOG_INF("slave rx queue size: %u", *(pos + 2));
		} else if (*pos == ESP_PRIV_TX_Q_SIZE) {
			LOG_INF("slave tx queue size: %u", *(pos + 2));
		} else if (*pos == ESP_PRIV_FIRMWARE_VERSION) {
			slave_fw_version = *(pos + 2) | (*(pos + 3) << 8) | (*(pos + 4) << 16) |
					   (*(pos + 5) << 24);
			LOG_INF("slave fw version: 0x%08" PRIx32, slave_fw_version);
		} else {
			LOG_INF("Unsupported EVENT: %2x", *pos);
		}
		pos += (tag_len + 2);
		len_left -= (tag_len + 2);
	}

	if ((chip_type != ESP_PRIV_FIRMWARE_CHIP_ESP32) &&
	    (chip_type != ESP_PRIV_FIRMWARE_CHIP_ESP32S2) &&
	    (chip_type != ESP_PRIV_FIRMWARE_CHIP_ESP32S3) &&
	    (chip_type != ESP_PRIV_FIRMWARE_CHIP_ESP32C2) &&
	    (chip_type != ESP_PRIV_FIRMWARE_CHIP_ESP32C3) &&
	    (chip_type != ESP_PRIV_FIRMWARE_CHIP_ESP32C6) &&
	    (chip_type != ESP_PRIV_FIRMWARE_CHIP_ESP32C5)) {
		LOG_INF("ESP board type is not mentioned, ignoring [%d]\n\r", chip_type);
		chip_type = ESP_PRIV_FIRMWARE_CHIP_UNRECOGNIZED;
		return -1;
	} else {
		LOG_INF("ESP board type is : %d \n\r", chip_type);
	}

	send_slave_config(card, 0, chip_type, raw_tp_config, H_WIFI_TX_DATA_THROTTLE_LOW_THRESHOLD,
			  H_WIFI_TX_DATA_THROTTLE_HIGH_THRESHOLD);

	return 0;
}

void process_event(const struct device *card, uint8_t *evt_buf, uint16_t len)
{
	int ret = 0;
	struct esp_priv_event *event;

	if (!evt_buf || !len) {
		return;
	}

	event = (struct esp_priv_event *)evt_buf;

	if (event->event_type == ESP_PRIV_EVENT_INIT) {

		LOG_INF("process_event: Received INIT event from ESP32 peripheral");
		LOG_HEXDUMP_INF(event->event_data, event->event_len, "Slave_init_evt");

		ret = process_init_event(card, event->event_data, event->event_len);
		if (ret) {
			LOG_INF("process_event: failed to init event");
		}
	} else {
		LOG_INF("process_event: Drop unknown event");
	}
}

void process_priv_communication(const struct device *card, interface_buffer_handle_t *buf_handle)
{
	if (!buf_handle || !buf_handle->payload || !buf_handle->payload_len) {
		return;
	}

	process_event(card, buf_handle->payload, buf_handle->payload_len);
}

int is_valid_sdio_rx_packet(uint8_t *rxbuff_a, uint16_t *len_a, uint16_t *offset_a)
{
	struct esp_payload_header *h = (struct esp_payload_header *)rxbuff_a;
	uint16_t len = 0, offset = 0;

	if (!h || !len_a || !offset_a) {
		return 0;
	}

	/* Fetch length and offset from payload header */
	len = le16toh(h->len);
	offset = le16toh(h->offset);

	if ((!len) || (len > MAX_PAYLOAD_SIZE) || (offset != sizeof(struct esp_payload_header))) {

		/* Free up buffer, as one of following -
		 * 1. no payload to process
		 * 2. input packet size > driver capacity
		 * 3. payload header size mismatch,
		 * wrong header/bit packing?
		 * */
		return 0;
	}

	*len_a = len;
	*offset_a = offset;

	return 1;
}
```
